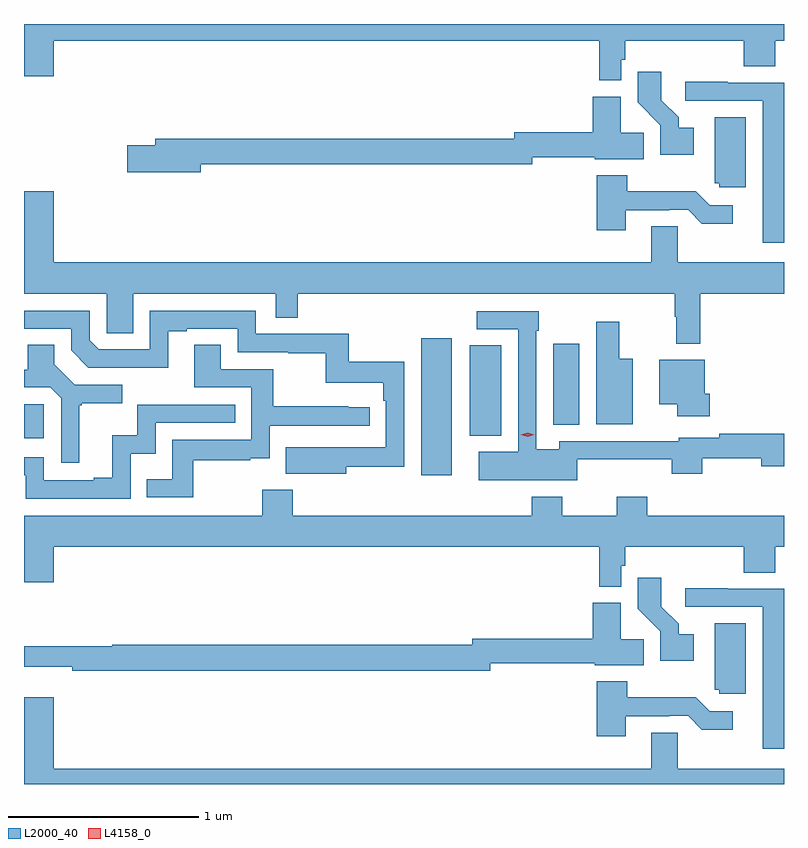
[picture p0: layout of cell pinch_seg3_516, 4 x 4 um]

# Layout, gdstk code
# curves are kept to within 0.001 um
import gdstk
lib = gdstk.Library(unit=1e-6, precision=1e-09)
def R(c, l, rs):  # rectangles x0, y0, x1, y1
    for r in rs: c.add(gdstk.rectangle(r[:2], r[2:], *l))
def P(c, l, *ps):  # polygons
    for p in ps: c.add(gdstk.Polygon(p, *l))
L2000_40 = (2000, 40)
L4158_0 = (4158, 0)

pinch_seg3_516 = lib.new_cell('pinch_seg3_516')
R(pinch_seg3_516, L2000_40, [(982.289,670.656,982.45,671.377), (980.199,670.851,980.304,671.031), (982.544,670.865,982.711,671.339), (982.985,670.921,983.122,671.347)])
P(pinch_seg3_516, L2000_40, [(980.199,672.756),(980.356,672.756),(980.356,672.944),(983.227,672.944),(983.227,672.734),(983.343,672.734),(983.343,672.843),(983.363,672.843),(983.363,672.944),(983.987,672.944),(983.987,672.808),(984.152,672.808),(984.152,672.944),(984.199,672.944),(984.199,673.031),(980.199,673.031)],
  [(983.725,672.484),(983.644,672.484),(983.644,672.539),(983.554,672.629),(983.554,672.781),(983.428,672.781),(983.428,672.618),(983.547,672.499),(983.547,672.344),(983.725,672.344)],
  [(984.199,672.723),(983.903,672.723),(983.903,672.726),(983.679,672.726),(983.679,672.627),(984.087,672.627),(984.087,671.88),(984.199,671.88)],
  [(981.13,672.292),(982.875,672.292),(982.875,672.331),(983.204,672.331),(983.204,672.32),(983.462,672.32),(983.462,672.458),(983.341,672.458),(983.341,672.649),(983.192,672.649),(983.192,672.46),(982.779,672.46),(982.779,672.428),(980.891,672.428),(980.891,672.392),(980.742,672.392),(980.742,672.25),(981.13,672.25)],
  [(983.998,672.541),(983.834,672.541),(983.834,672.192),(983.859,672.192),(983.859,672.171),(983.998,672.171)],
  [(983.365,672.051),(983.594,672.051),(983.594,672.054),(983.694,672.054),(983.767,671.981),(983.929,671.981),(983.929,672.078),(983.808,672.078),(983.735,672.151),(983.373,672.151),(983.373,672.235),(983.213,672.235),(983.213,671.946),(983.365,671.946)],
  [(983.759,671.612),(984.199,671.612),(984.199,671.776),(983.64,671.776),(983.64,671.966),(983.501,671.966),(983.501,671.776),(980.356,671.776),(980.356,672.151),(980.199,672.151),(980.199,671.612),(980.634,671.612),(980.634,671.404),(980.773,671.404),(980.773,671.612),(981.525,671.612),(981.525,671.485),(981.641,671.485),(981.641,671.612),(983.623,671.612),(983.623,671.489),(983.631,671.489),(983.631,671.349),(983.759,671.349)],
  [(981.895,670.702),(982.2,670.702),(982.2,671.254),(981.907,671.254),(981.907,671.4),(981.42,671.4),(981.42,671.523),(980.862,671.523),(980.862,671.319),(980.592,671.319),(980.544,671.367),(980.544,671.523),(980.199,671.523),(980.199,671.427),(980.448,671.427),(980.448,671.313),(980.538,671.223),(980.959,671.222),(980.959,671.415),(981.055,671.415),(981.055,671.427),(981.324,671.427),(981.324,671.304),(981.589,671.304),(981.589,671.299),(981.786,671.299),(981.786,671.144),(982.091,671.144),(982.091,671.048),(982.104,671.048),(982.104,670.803),(981.577,670.804),(981.577,670.664),(981.895,670.664)],
  [(983.112,670.739),(983.609,670.739),(983.609,670.664),(983.769,670.664),(983.769,670.746),(984.08,670.746),(984.08,670.703),(984.199,670.703),(984.199,670.874),(983.857,670.874),(983.857,670.854),(983.646,670.854),(983.646,670.836),(983.016,670.836),(983.016,670.792),(982.896,670.792),(982.896,671.417),(982.909,671.417),(982.909,671.52),(982.581,671.52),(982.581,671.424),(982.8,671.424),(982.8,670.78),(982.593,670.78),(982.593,670.631),(983.112,670.631)],
  [(983.404,671.269),(983.332,671.269),(983.332,671.464),(983.21,671.464),(983.21,670.925),(983.404,670.925)],
  [(980.491,671.025),(980.503,671.025),(980.503,671.036),(980.716,671.036),(980.716,671.133),(980.466,671.133),(980.359,671.24),(980.359,671.342),(980.219,671.342),(980.219,671.21),(980.199,671.21),(980.199,671.118),(980.337,671.118),(980.394,671.061),(980.394,670.722),(980.491,670.722)],
  [(981.091,670.734),(981.389,670.734),(981.389,670.745),(981.492,670.745),(981.492,670.917),(982.018,670.917),(982.018,671.013),(981.905,671.013),(981.905,671.018),(981.512,671.018),(981.512,671.214),(981.235,671.214),(981.235,671.342),(981.095,671.342),(981.095,671.118),(981.396,671.118),(981.396,670.842),(980.98,670.842),(980.98,670.636),(980.845,670.636),(980.845,670.539),(981.091,670.539)],
  [(983.807,671.085),(983.782,671.085),(983.782,671.263),(983.543,671.263),(983.543,671.03),(983.636,671.03),(983.636,670.967),(983.807,670.967)],
  [(980.76,670.769),(980.892,670.769),(980.892,670.932),(981.311,670.932),(981.311,671.028),(980.796,671.028),(980.796,670.867),(980.663,670.867),(980.663,670.642),(980.567,670.642),(980.567,670.629),(980.304,670.629),(980.304,670.752),(980.199,670.752),(980.199,670.656),(980.208,670.656),(980.208,670.533),(980.76,670.533)],
  [(983.343,670.179),(983.363,670.179),(983.363,670.28),(983.987,670.28),(983.987,670.144),(984.152,670.144),(984.152,670.28),(984.199,670.28),(984.199,670.444),(983.48,670.444),(983.48,670.543),(983.32,670.543),(983.32,670.444),(983.031,670.444),(983.031,670.543),(982.871,670.543),(982.871,670.444),(981.614,670.444),(981.614,670.579),(981.454,670.579),(981.454,670.444),(980.199,670.444),(980.199,670.092),(980.356,670.092),(980.356,670.28),(983.227,670.28),(983.227,670.07),(983.343,670.07)],
  [(983.725,669.82),(983.644,669.82),(983.644,669.875),(983.554,669.965),(983.554,670.117),(983.428,670.117),(983.428,669.954),(983.547,669.835),(983.547,669.68),(983.725,669.68)],
  [(984.199,670.059),(983.903,670.059),(983.903,670.062),(983.679,670.062),(983.679,669.963),(984.087,669.963),(984.087,669.438),(984.086,669.438),(984.086,669.216),(984.199,669.216)],
  [(982.653,669.667),(983.204,669.667),(983.204,669.656),(983.462,669.656),(983.462,669.794),(983.341,669.794),(983.341,669.985),(983.192,669.985),(983.192,669.796),(982.557,669.796),(982.557,669.764),(980.663,669.764),(980.663,669.757),(980.199,669.757),(980.199,669.647),(980.452,669.647),(980.452,669.628),(982.653,669.628)],
  [(983.998,669.877),(983.834,669.877),(983.834,669.528),(983.859,669.528),(983.859,669.507),(983.998,669.507)],
  [(983.365,669.387),(983.594,669.387),(983.594,669.39),(983.694,669.39),(983.767,669.317),(983.929,669.317),(983.929,669.414),(983.808,669.414),(983.735,669.487),(983.373,669.487),(983.373,669.571),(983.213,669.571),(983.213,669.282),(983.365,669.282)],
  [(984.199,669.112),(983.64,669.112),(983.64,669.302),(983.501,669.302),(983.501,669.112),(980.356,669.112),(980.356,669.487),(980.199,669.487),(980.199,669.031),(984.199,669.031)])
P(pinch_seg3_516, L4158_0, [(982.849,670.859),(982.814,670.869),(982.814,670.869),(982.814,670.869),(982.849,670.879),(982.883,670.869),(982.884,670.869),(982.883,670.869)])

lib.write_gds('pinch_seg3_516.gds')
